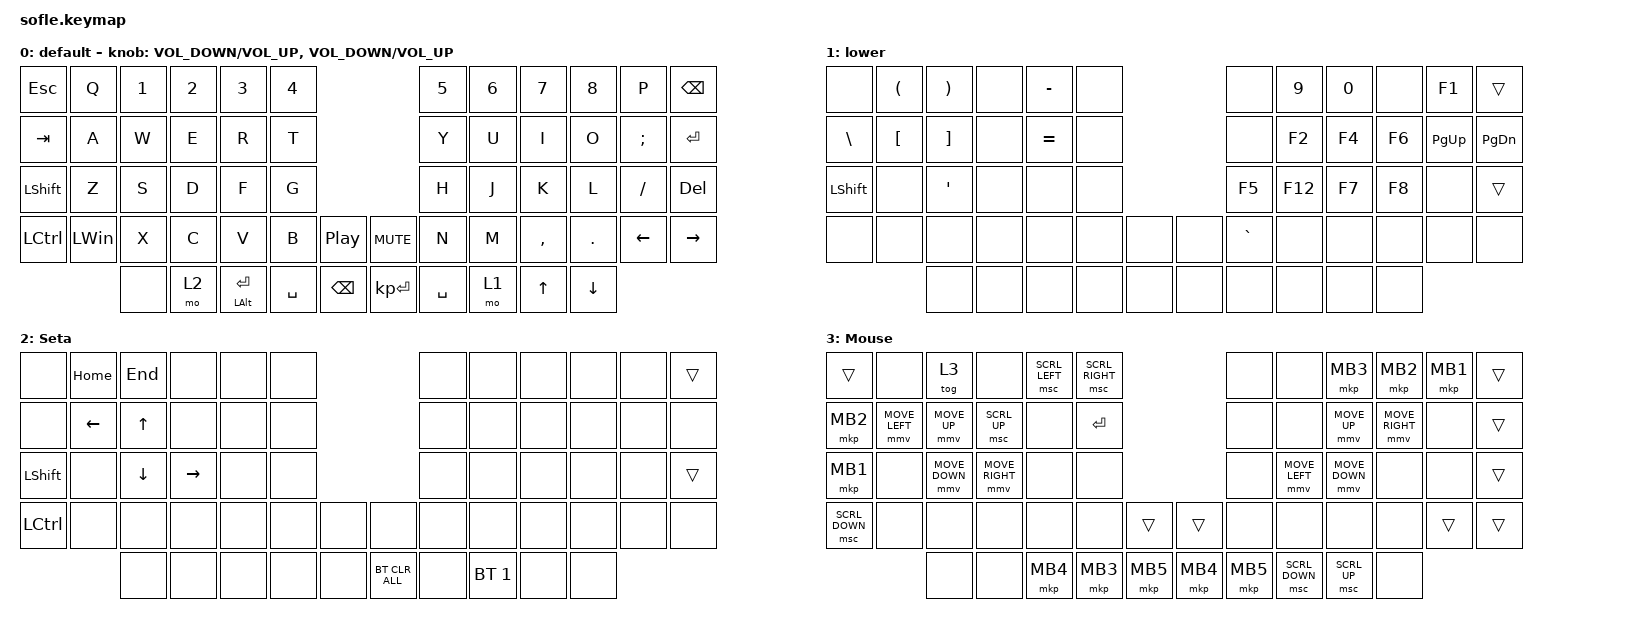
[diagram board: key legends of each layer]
/*
 * Copyright (c) 2020 The ZMK Contributors
 *
 * SPDX-License-Identifier: MIT
 */

#include <behaviors.dtsi>
#include <dt-bindings/zmk/bt.h>
#include <dt-bindings/zmk/keys.h>
#include <dt-bindings/zmk/pointing.h>
#include <dt-bindings/zmk/pointing.h>
#include <dt-bindings/zmk/pointing.h>

#define BASE 0
#define LOWER 1
#define RAISE 2
#define ADJUST 3
#define ZMK_POINTING_DEFAULT_MOVE_VAL 3500

&mmv {
    time-to-max-speed-ms = <600>; // Time to reach maximum speed (default 500)
};

/ {
    // Activate ADJUST layer by pressing raise and lower

    conditional_layers { compatible = "zmk,conditional-layers"; };

    combos {
        compatible = "zmk,combos";

        MouseCombo {
            bindings = <&tog 3>;
            key-positions = <2 1>;
            layers = <0>;
            timeout-ms = <350>;
        };

        MouseCombo2 {
            bindings = <&tog 3>;
            key-positions = <10 9>;
            timeout-ms = <350>;
            layers = <0>;
        };
    };

    keymap {
        compatible = "zmk,keymap";

        Basee {
            display-name = "default";

            // ------------------------------------------------------------------------------------------------------------
            // |   `   |  1  |  2  |  3   |  4   |  5   |                   |  6   |  7    |  8    |  9   |   0   |       |
            // |  ESC  |  Q  |  W  |  E   |  R   |  T   |                   |  Y   |  U    |  I    |  O   |   P   | BKSPC |
            // |  TAB  |  A  |  S  |  D   |  F   |  G   |                   |  H   |  J    |  K    |  L   |   ;   |   '   |
            // | SHIFT |  Z  |  X  |  C   |  V   |  B   |  MUTE  |  |       |  N   |  M    |  ,    |  .   |   /   | SHIFT |
            //               | GUI | ALT  | CTRL | LOWER|  ENTER |  | SPACE | RAISE| CTRL  | ALT   | GUI  |

            bindings = <
&kp ESC         &kp Q         &kp NUMBER_1  &kp NUMBER_2  &kp NUMBER_3    &kp NUMBER_4                                    &kp NUMBER_5  &kp NUMBER_6  &kp NUMBER_7  &kp NUMBER_8    &kp P           &kp BACKSPACE
&kp TAB         &kp A         &kp W         &kp E         &kp R           &kp T                                           &kp Y         &kp U         &kp I         &kp O           &kp SEMICOLON   &kp ENTER
&kp LEFT_SHIFT  &kp Z         &kp S         &kp D         &kp F           &kp G                                           &kp H         &kp J         &kp K         &kp L           &kp SLASH       &kp DEL
&kp LCTRL       &kp LEFT_WIN  &kp X         &kp C         &kp V           &kp B         &kp C_PLAY_PAUSE    &kp C_MUTE    &kp N         &kp M         &kp COMMA     &kp PERIOD      &kp LEFT_ARROW  &kp RIGHT_ARROW
                              &none         &mo 2         &mt LALT ENTER  &kp SPACE     &kp BACKSPACE       &kp KP_ENTER  &kp SPACE     &mo 1         &kp UP_ARROW  &kp DOWN_ARROW
            >;

            sensor-bindings =
                <&inc_dec_kp C_VOLUME_DOWN C_VOLUME_UP>,
                <&inc_dec_kp C_VOLUME_DOWN C_VOLUME_UP>;

            label = "Base";
        };

        Prograa {
            display-name = "lower";

            // TODO: Some binds are waiting for shifted keycode support.
            // ------------------------------------------------------------------------------------------------------------
            // |       |  F1 |  F2 |  F3  |  F4  |  F5  |                   |  F6  |  F7   |  F8   |  F9  |  F10  |  F11  |
            // |   `   |  1  |  2  |  3   |  4   |  5   |                   |  6   |  7    |  8    |  9   |   0   |  F12  |
            // |       |  !  |  @  |  #   |  $   |  %   |                   |  ^   |  &    |  *    |  (   |   )   |   |   |
            // |       |  =  |  -  |  +   |  {   |  }   |        |  |       |  [   |  ]    |  ;    |  :   |   \   |       |
            //               |     |      |      |      |        |  |       |      |       |       |      |

            bindings = <
&none           &kp LEFT_PARENTHESIS  &kp RIGHT_PARENTHESIS  &none  &kp MINUS  &none                  &none      &kp NUMBER_9  &kp NUMBER_0  &none   &kp F1       &trans
&kp BACKSLASH   &kp LEFT_BRACKET      &kp RIGHT_BRACKET      &none  &kp EQUAL  &none                  &none      &kp F2        &kp F4        &kp F6  &kp PAGE_UP  &kp PAGE_DOWN
&kp LEFT_SHIFT  &none                 &kp APOSTROPHE         &none  &none      &none                  &kp F5     &kp F12       &kp F7        &kp F8  &none        &trans
&none           &none                 &none                  &none  &none      &none  &none    &none  &kp GRAVE  &none         &none         &none   &none        &none
                                      &none                  &none  &none      &none  &none    &none  &none      &none         &none         &none
            >;

            label = "Progra";
        };

        Setaa {
            bindings = <
&none           &kp HOME        &kp END         &none            &none  &none                           &none  &none         &none  &none  &none  &trans
&none           &kp LEFT_ARROW  &kp UP_ARROW    &none            &none  &none                           &none  &none         &none  &none  &none  &none
&kp LEFT_SHIFT  &none           &kp DOWN_ARROW  &kp RIGHT_ARROW  &none  &none                           &none  &none         &none  &none  &none  &trans
&kp LCTRL       &none           &none           &none            &none  &none  &none    &none           &none  &none         &none  &none  &none  &none
                                &none           &none            &none  &none  &none    &bt BT_CLR_ALL  &none  &bt BT_SEL 1  &none  &none
            >;

            label = "Seta";
        };

        Mousee {
            bindings = <
&trans          &none           &tog 3          &none            &msc SCRL_LEFT  &msc SCRL_RIGHT                        &none     &none           &mkp MB3        &mkp MB2         &mkp MB1  &trans
&mkp MB2        &mmv MOVE_LEFT  &mmv MOVE_UP    &msc SCRL_UP     &none           &kp RETURN                             &none     &none           &mmv MOVE_UP    &mmv MOVE_RIGHT  &none     &trans
&mkp MB1        &none           &mmv MOVE_DOWN  &mmv MOVE_RIGHT  &none           &none                                  &none     &mmv MOVE_LEFT  &mmv MOVE_DOWN  &none            &none     &trans
&msc SCRL_DOWN  &none           &none           &none            &none           &none            &trans      &trans    &none     &none           &none           &none            &trans    &trans
                                &none           &none            &mkp MB4        &mkp MB3         &mkp MB5    &mkp MB4  &mkp MB5  &msc SCRL_DOWN  &msc SCRL_UP    &none
            >;

            label = "Mouse";
        };
    };
};
